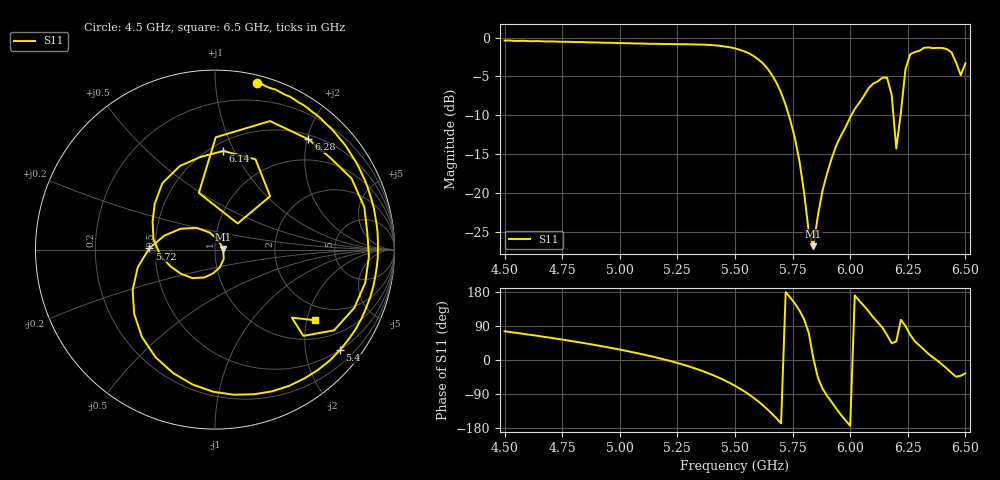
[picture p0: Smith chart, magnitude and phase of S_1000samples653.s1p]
! TOUCHSTONE file generated by CST MICROWAVE STUDIO
! Date and time: Fri Oct 28 22:14:17 2022
! Project name: L.cst
! Parameters = {Di=1.27; Epsilon_r=1.56; InnerDiameter=1.27; Length=2; Lf=10; Lg=60; OuterConductorThickness=0.2921; OuterDiameter=3.6; Wf=3; Wp=41.2; de=1.5; df=6.8; g=0.8; gx=4.58321; gy=0.745737; h=2.34; hf=1.524; px=8.06964; py=12.585; w=9.7; wx=3.48643; wy=11.8393}
! Header version: 2018
! Port assignment regex: !\s*Touchstone port\s*([0-9]+)\s*=\s*(CST MWS port|CST DS port)\s*([0-9]+|Zmin|Zmax)\s*\(\"(.*)\"\)(\s*mode\s*([0-9]+))?.*
! Touchstone port assignment:
! Touchstone port 1 = CST MWS port 1 ("")
# GHz S DB R 50
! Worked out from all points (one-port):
!   101 points, 4.5 GHz to 6.5 GHz, reference 50 ohm
!   lowest |S11| = -26.9 dB at 5.84 GHz (marker M1), VSWR 1.09, Z = 54.7 + j0.378 ohm
!   |S11| at or under -10 dB: 5.733 GHz to 6.005 GHz (271.9 MHz wide, 4.63 % of centre); 6.187576 GHz to 6.218566 GHz (30.99 MHz wide, 0.5 % of centre)
!   S11 on the Smith chart (normalised r, x): 4.5 GHz: 0.06, +1.28; 5.4 GHz: 0.50, -2.76; 5.72 GHz: 0.46, +0.01; 6.14 GHz: 0.57, +0.91; 6.28 GHz: 0.58, +2.02; 6.5 GHz: 1.52, -2.24
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4.5  -0.40 76.0
4.76  -0.54 53.1
5  -0.72 27.4
5.26  -0.86 -9.6
5.4  -0.98 -38.8
5.5  -1.40 -68.0
5.58  -2.36 -99.5
5.64  -3.95 -129.9
5.72  -8.71 179.0
5.76  -12.97 148.9
5.82  -25.03 71.5
5.84  -26.88 4.4
5.9  -17.48 -95.0
6  -10.28 -173.8
6.08  -6.52 128.4
6.14  -5.17 85.2
6.16  -5.17 65.8
6.18  -7.38 44.1
6.2  -14.30 49.0
6.22  -9.67 105.9
6.24  -4.07 89.6
6.26  -2.17 66.8
6.28  -1.88 49.7
6.34  -1.26 16.0
6.4  -1.34 -12.5
6.44  -1.92 -34.2
6.48  -4.85 -41.5
6.5  -3.33 -35.2
